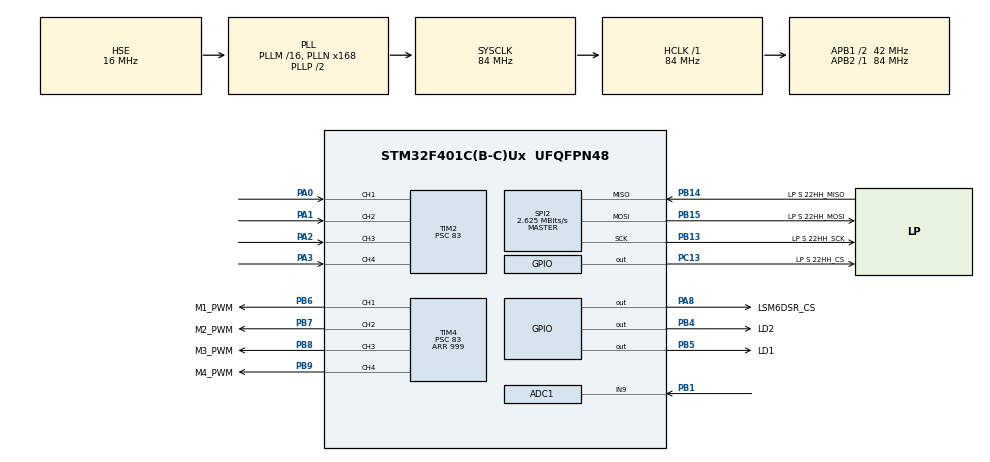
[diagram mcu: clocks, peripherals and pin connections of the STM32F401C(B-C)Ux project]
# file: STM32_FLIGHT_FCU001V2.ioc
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ADC1.Channel-0\#ChannelRegularConversion=ADC_CHANNEL_9
ADC1.ClockPrescaler=ADC_CLOCK_SYNC_PCLK_DIV8
ADC1.ContinuousConvMode=DISABLE
ADC1.EOCSelection=ADC_EOC_SEQ_CONV
ADC1.ExternalTrigConv=ADC_EXTERNALTRIGCONV_T3_TRGO
ADC1.NbrOfConversionFlag=1
ADC1.Rank-0\#ChannelRegularConversion=1
ADC1.SamplingTime-0\#ChannelRegularConversion=ADC_SAMPLETIME_3CYCLES
ADC1.master=1
Mcu.Family=STM32F4
Mcu.Name=STM32F401C(B-C)Ux
Mcu.Package=UFQFPN48
NVIC.ADC_IRQn=true\:0\:0\:false\:false\:true\:true\:true\:true
NVIC.PriorityGroup=NVIC_PRIORITYGROUP_4
NVIC.TIM2_IRQn=true\:0\:0\:false\:false\:true\:true\:true\:true
NVIC.TIM3_IRQn=true\:0\:0\:false\:false\:true\:true\:true\:true
PA0-WKUP.Signal=S_TIM2_CH1_ETR
PA1.Signal=S_TIM2_CH2
PA13.Signal=SYS_JTMS-SWDIO
PA14.Signal=SYS_JTCK-SWCLK
PA2.Signal=S_TIM2_CH3
PA3.Signal=S_TIM2_CH4
PA8.GPIO_Label=LSM6DSR_CS
PA8.GPIO_PuPd=GPIO_PULLUP
PA8.PinState=GPIO_PIN_SET
PA8.Signal=GPIO_Output
PB1.Signal=ADCx_IN9
PB13.GPIO_Label=LP S 22HH_SCK
PB13.Mode=Full_Duplex_Master
PB13.Signal=SPI2_SCK
PB14.GPIO_Label=LP S 22HH_MISO
PB14.Mode=Full_Duplex_Master
PB14.Signal=SPI2_MISO
PB15.GPIO_Label=LP S 22HH_MOSI
PB15.Mode=Full_Duplex_Master
PB15.Signal=SPI2_MOSI
PB3.Signal=SYS_JTDO-SWO
PB4.GPIO_Label=LD2
PB4.PinState=GPIO_PIN_SET
PB4.Signal=GPIO_Output
PB5.GPIO_Label=LD1
PB5.PinState=GPIO_PIN_SET
PB5.Signal=GPIO_Output
PB6.GPIO_Label=M1_PWM
PB6.Signal=S_TIM4_CH1
PB7.GPIO_Label=M2_PWM
PB7.Signal=S_TIM4_CH2
PB8.GPIO_Label=M3_PWM
PB8.Signal=S_TIM4_CH3
PB9.GPIO_Label=M4_PWM
PB9.Signal=S_TIM4_CH4
PC13-ANTI_TAMP.GPIO_Label=LP S 22HH_CS
PC13-ANTI_TAMP.GPIO_PuPd=GPIO_PULLUP
PC13-ANTI_TAMP.PinState=GPIO_PIN_SET
PC13-ANTI_TAMP.Signal=GPIO_Output
PH0\ -\ OSC_IN.Mode=HSE-External-Oscillator
PH0\ -\ OSC_IN.Signal=RCC_OSC_IN
PH1\ -\ OSC_OUT.Mode=HSE-External-Oscillator
PH1\ -\ OSC_OUT.Signal=RCC_OSC_OUT
ProjectManager.HeapSize=0x200
ProjectManager.StackSize=0x400
ProjectManager.TargetToolchain=STM32CubeIDE
RCC.48MHZClocksFreq_Value=42000000
RCC.AHBFreq_Value=84000000
RCC.APB1CLKDivider=RCC_HCLK_DIV2
RCC.APB1Freq_Value=42000000
RCC.APB1TimFreq_Value=84000000
RCC.APB2Freq_Value=84000000
RCC.APB2TimFreq_Value=84000000
RCC.CortexFreq_Value=84000000
RCC.HCLKFreq_Value=84000000
RCC.HSE_VALUE=16000000
RCC.HSI_VALUE=16000000
RCC.LSE_VALUE=32768
RCC.PLLN=168
RCC.PLLSourceVirtual=RCC_PLLSOURCE_HSE
RCC.SYSCLKFreq_VALUE=84000000
RCC.SYSCLKSource=RCC_SYSCLKSOURCE_PLLCLK
RCC.VCOOutputFreq_Value=168000000
SH.ADCx_IN9.0=ADC1_IN9,IN9
SH.S_TIM2_CH1_ETR.0=TIM2_CH1,Input_Capture1_from_TI1
SH.S_TIM2_CH2.0=TIM2_CH2,Input_Capture2_from_TI2
SH.S_TIM2_CH3.0=TIM2_CH3,Input_Capture3_from_TI3
SH.S_TIM2_CH4.0=TIM2_CH4,Input_Capture4_from_TI4
SH.S_TIM4_CH1.0=TIM4_CH1,PWM Generation1 CH1
SH.S_TIM4_CH2.0=TIM4_CH2,PWM Generation2 CH2
SH.S_TIM4_CH3.0=TIM4_CH3,PWM Generation3 CH3
SH.S_TIM4_CH4.0=TIM4_CH4,PWM Generation4 CH4
SPI2.BaudRatePrescaler=SPI_BAUDRATEPRESCALER_16
SPI2.CalculateBaudRate=2.625 MBits/s
SPI2.Direction=SPI_DIRECTION_2LINES
SPI2.Mode=SPI_MODE_MASTER
SPI2.VirtualType=VM_MASTER
STMicroelectronics.X-CUBE-ALGOBUILD.1.4.0.LibraryCcDSPOoLibraryJjDSPOoLibrary=true
TIM2.Channel-Input_Capture1_from_TI1=TIM_CHANNEL_1
TIM2.Channel-Input_Capture2_from_TI2=TIM_CHANNEL_2
TIM2.Channel-Input_Capture3_from_TI3=TIM_CHANNEL_3
TIM2.Channel-Input_Capture4_from_TI4=TIM_CHANNEL_4
TIM2.ICPolarity_CH1=TIM_INPUTCHANNELPOLARITY_BOTHEDGE
TIM2.ICPolarity_CH2=TIM_INPUTCHANNELPOLARITY_BOTHEDGE
TIM2.ICPolarity_CH3=TIM_INPUTCHANNELPOLARITY_BOTHEDGE
TIM2.ICPolarity_CH4=TIM_INPUTCHANNELPOLARITY_BOTHEDGE
TIM2.Prescaler=83
TIM3.Period=1999
TIM3.Prescaler=83
TIM3.TIM_MasterOutputTrigger=TIM_TRGO_UPDATE
TIM4.Channel-PWM\ Generation1\ CH1=TIM_CHANNEL_1
TIM4.Channel-PWM\ Generation2\ CH2=TIM_CHANNEL_2
TIM4.Channel-PWM\ Generation3\ CH3=TIM_CHANNEL_3
TIM4.Channel-PWM\ Generation4\ CH4=TIM_CHANNEL_4
TIM4.Period=999
TIM4.Prescaler=83
VP_STMicroelectronics.X-CUBE-ALGOBUILD_VS_DSPOoLibraryJjLibrary_1.4.0_1.4.0.Mode=DSPOoLibraryJjLibrary
VP_TIM2_VS_ClockSourceINT.Mode=Internal
VP_TIM3_VS_ClockSourceINT.Mode=Internal
VP_TIM4_VS_ClockSourceINT.Mode=Internal
board=custom

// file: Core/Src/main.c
/* USER CODE BEGIN Header */
/**
  ******************************************************************************
  * @file           : main.c
  * @brief          : Main program body
  ******************************************************************************
  * @attention
  *
  * Copyright (c) 2025 STMicroelectronics.
  * All rights reserved.
  *
  * This software is licensed under terms that can be found in the LICENSE file
  * in the root directory of this software component.
  * If no LICENSE file comes with this software, it is provided AS-IS.
  *
  ******************************************************************************
  */
/* USER CODE END Header */
#include "main.h"

/* USER CODE BEGIN Includes */
#include "motor_drone.h"
#include "LSM6DSR.h"
#include "imu_data.h"
#include "euler_angles.h"
#include "drone_control.h"
#include "stdio.h"
/* USER CODE END Includes */

ADC_HandleTypeDef hadc1;

SPI_HandleTypeDef hspi2;

TIM_HandleTypeDef htim2;
TIM_HandleTypeDef htim3;
TIM_HandleTypeDef htim4;

/* USER CODE BEGIN PV */
static imu_norm imu_norm_data;
static euler_angles euler_angles_robot;
static euler_angles euler_angles_reference =
{
		.pitch = 0,
		.roll = 0,
		.yaw = 0,
};
static float altitude_reference;
extern DroneTypeDef drone;
uint16_t timer_increment = 0;
uint8_t start_flight;
float roll_copy, pitch_copy;
/* USER CODE END PV */

void SystemClock_Config(void);
static void MX_GPIO_Init(void);
static void MX_TIM3_Init(void);
static void MX_TIM4_Init(void);
static void MX_SPI2_Init(void);
static void MX_ADC1_Init(void);
static void MX_TIM2_Init(void);

/* USER CODE BEGIN 0 */
MotorDroneHandler motor_drone =
{
		.arr_value = 999,
		.motor1_ch = TIM_CHANNEL_1,
		.motor2_ch = TIM_CHANNEL_2,
		.motor3_ch = TIM_CHANNEL_3,
		.motor4_ch = TIM_CHANNEL_4,
		.timer = &htim4,
		};

lsm6dsr_handler imu_sensor =
{
		.spi_imu = &hspi2,
		.gpio_cs_pin = LSM6DSR_CS_Pin ,
		.gpio_cs_port = LSM6DSR_CS_GPIO_Port,
};

void HAL_TIM_PeriodElapsedCallback(TIM_HandleTypeDef *htim)
{
	if(htim == &htim3)
	{
		lsm6dsr_read_data(&imu_sensor);
		sensor2imu_lsm6dsr(imu_sensor, &imu_norm_data);
		complementary_filter_euler(imu_norm_data,  &drone.angles_estimation);
		roll_copy = euler_angles_robot.roll;
		pitch_copy = euler_angles_robot.pitch;
		lps22hh_estimate_altitude(&pressure_sensor);
		drone.altitude = pressure_sensor.altitude;
		if(!drone.start_flight)
		{
			drone_set_zero(&drone);
			euler_angles_reference.pitch = 0;
			euler_angles_reference.roll = 0;
			euler_angles_reference.yaw = 0;
			altitude_reference = 0;
		}
		else
		{
			drone_apply_control(&drone, &euler_angles_reference, altitude_reference);
		}

	}
}

//int32_t frequency, duty_cycle;
uint32_t ch1_duty,ch2_duty,ch3_duty,ch4_duty;
void HAL_TIM_IC_CaptureCallback(TIM_HandleTypeDef *htim)
{
	static uint32_t ch1_last, ch2_last, ch3_last,ch4_last;
	static int16_t start_flight_counter = 0;
	uint32_t ch1,ch2,ch3,ch4;
    if(htim ->Channel == HAL_TIM_ACTIVE_CHANNEL_1)
    {
        ch1 = HAL_TIM_ReadCapturedValue(htim, TIM_CHANNEL_1);
        if(ch1 > ch1_last && ch1 - ch1_last < 3000)
        {
        	ch1_duty = ch1 - ch1_last;
        	euler_angles_reference.roll = ((float)ch1_duty - 1500) / 1250;
        }
        ch1_last = ch1;
    }
    if(htim ->Channel == HAL_TIM_ACTIVE_CHANNEL_2)
    {
        ch2 = HAL_TIM_ReadCapturedValue(htim, TIM_CHANNEL_2);
        if(ch2 > ch2_last && ch2 - ch2_last < 3000)
        {
        	ch2_duty = ch2 - ch2_last;
        	euler_angles_reference.pitch = ((float)ch2_duty - 1500) / 1250;
        }
        ch2_last = ch2;
    }
    if(htim ->Channel == HAL_TIM_ACTIVE_CHANNEL_3)
    {
        ch3 = HAL_TIM_ReadCapturedValue(htim, TIM_CHANNEL_3);
        if(ch3 > ch3_last && ch3 - ch3_last < 3000)
        {
        	ch3_duty = ch3 - ch3_last;

        	if(ch3_duty > 1650)
        	{
        		if(start_flight_counter >= 50)
        		{
        			start_flight_counter = 50;
        			drone.start_flight = 1;
        		}
        		else
        		{
        			start_flight_counter++;
        		}
        	}
        	else
        	{
        		if(ch3_duty < 1050)
        		{
            		if(start_flight_counter <= 0)
            		{
            			drone.start_flight = 0;
            		}
            		else
            		{
            			start_flight_counter--;
            		}
        		}

        	}
        	if(drone.start_flight)
        	{
        		drone.voltage_default = HOVERING_VOLTAGE;
        		altitude_reference += ((float)ch3_duty - 1500) / 100000;
        		altitude_reference = 1.0;
        		if(altitude_reference > 1.0)
        		{
        			altitude_reference = 1.0;
        		}
        		if(altitude_reference < 0)
        		{
        			altitude_reference = 0;
        		}
        	}
        	else
        	{
        		altitude_reference = 0;
        		drone.voltage_default = 0;
        	}
        }
        ch3_last = ch3;
    }
    if(htim ->Channel == HAL_TIM_ACTIVE_CHANNEL_4)
    {
        ch4 = HAL_TIM_ReadCapturedValue(htim, TIM_CHANNEL_4);
        if(ch4 > ch4_last && ch4 - ch4_last < 3000)
        {
        	ch4_duty = ch4 - ch4_last;
        	if(ch4_duty > 1600 || ch4_duty < 1400)
			{
				euler_angles_reference.yaw += ((float)ch4_duty - 1500) / 25000;
				if(euler_angles_reference.yaw > PI)
				{
					euler_angles_reference.yaw -= 2 *PI;
				}
				if(euler_angles_reference.yaw < -PI)
				{
					euler_angles_reference.yaw += 2 *PI;
				}
				euler_angles_reference.yaw = 0;
        				}
        }
        ch4_last = ch4;
    }
}

void HAL_ADC_ConvCpltCallback(ADC_HandleTypeDef* hadc)
{
	update_bat_voltage(&(drone.motor_drone), (float)HAL_ADC_GetValue(&hadc1));
}
/* USER CODE END 0 */

int main(void)
{

  /* MCU Configuration--------------------------------------------------------*/

  /* Reset of all peripherals, Initializes the Flash interface and the Systick. */
  HAL_Init();

  /* Configure the system clock */
  SystemClock_Config();

  /* Initialize all configured peripherals */
  MX_GPIO_Init();
  MX_TIM3_Init();
  MX_TIM4_Init();
  MX_SPI2_Init();
  MX_ADC1_Init();
  MX_TIM2_Init();
  /* USER CODE BEGIN 2 */

  HAL_Delay(1000);
  if(!lsm6dsr_init(&imu_sensor, 500))
  {
	  HAL_GPIO_WritePin(LD2_GPIO_Port, LD2_Pin, GPIO_PIN_RESET);
  }
  HAL_Delay(100);
  lsm6dsr_read_data(&imu_sensor);
  HAL_Delay(100);
  lsm6dsr_read_data(&imu_sensor);
  HAL_Delay(100);
  drone_initialization(&drone);
  HAL_ADC_Start_IT(&hadc1);
  HAL_TIM_Base_Start_IT(&htim3);
  //printf("let's start ! \n");
  /* USER CODE END 2 */

  /* Infinite loop */
  /* USER CODE BEGIN WHILE */
  while (1)
  {
	  if(drone.motor_drone.vbus_voltage < MIN_VOLTAGE + 0.2)
	  {
		  HAL_GPIO_TogglePin(LD1_GPIO_Port, LD1_Pin);
		  HAL_Delay(500);
	  }
	  else
	  {
		  HAL_GPIO_WritePin(LD1_GPIO_Port, LD1_Pin, GPIO_PIN_SET);
	  }

//	  set_motor_voltage(&(drone.motor_drone), MOTOR_1, 0.2);
//	  set_motor_voltage(&(drone.motor_drone), MOTOR_2, 0);
//	  set_motor_voltage(&(drone.motor_drone), MOTOR_3, 0);
//	  set_motor_voltage(&(drone.motor_drone), MOTOR_4, 0);
//	  HAL_Delay(2000);
//	  set_motor_voltage(&(drone.motor_drone), MOTOR_1, 0);
//	  set_motor_voltage(&(drone.motor_drone), MOTOR_2, 0.2);
//	  set_motor_voltage(&(drone.motor_drone), MOTOR_3, 0);
//	  set_motor_voltage(&(drone.motor_drone), MOTOR_4, 0);
//	  HAL_Delay(2000);
//	  set_motor_voltage(&(drone.motor_drone), MOTOR_1, 0);
//	  set_motor_voltage(&(drone.motor_drone), MOTOR_2, 0);
//	  set_motor_voltage(&(drone.motor_drone), MOTOR_3, 0.2);
//	  set_motor_voltage(&(drone.motor_drone), MOTOR_4, 0);
//	  HAL_Delay(2000);
//	  set_motor_voltage(&(drone.motor_drone), MOTOR_1, 0);
//	  set_motor_voltage(&(drone.motor_drone), MOTOR_2, 0);
//	  set_motor_voltage(&(drone.motor_drone), MOTOR_3, 0);
//	  set_motor_voltage(&(drone.motor_drone), MOTOR_4, 0.2);
//	  HAL_Delay(2000);

    /* USER CODE END WHILE */

  }
}

void SystemClock_Config(void)
{
  RCC_OscInitTypeDef RCC_OscInitStruct = {0};
  RCC_ClkInitTypeDef RCC_ClkInitStruct = {0};

  /** Configure the main internal regulator output voltage
  */
  __HAL_RCC_PWR_CLK_ENABLE();
  __HAL_PWR_VOLTAGESCALING_CONFIG(PWR_REGULATOR_VOLTAGE_SCALE2);

  /** Initializes the RCC Oscillators according to the specified parameters
  * in the RCC_OscInitTypeDef structure.
  */
  RCC_OscInitStruct.OscillatorType = RCC_OSCILLATORTYPE_HSE;
  RCC_OscInitStruct.HSEState = RCC_HSE_ON;
  RCC_OscInitStruct.PLL.PLLState = RCC_PLL_ON;
  RCC_OscInitStruct.PLL.PLLSource = RCC_PLLSOURCE_HSE;
  RCC_OscInitStruct.PLL.PLLM = 16;
  RCC_OscInitStruct.PLL.PLLN = 168;
  RCC_OscInitStruct.PLL.PLLP = RCC_PLLP_DIV2;
  RCC_OscInitStruct.PLL.PLLQ = 4;
  if (HAL_RCC_OscConfig(&RCC_OscInitStruct) != HAL_OK)
  {
    Error_Handler();
  }

  /** Initializes the CPU, AHB and APB buses clocks
  */
  RCC_ClkInitStruct.ClockType = RCC_CLOCKTYPE_HCLK|RCC_CLOCKTYPE_SYSCLK
                              |RCC_CLOCKTYPE_PCLK1|RCC_CLOCKTYPE_PCLK2;
  RCC_ClkInitStruct.SYSCLKSource = RCC_SYSCLKSOURCE_PLLCLK;
  RCC_ClkInitStruct.AHBCLKDivider = RCC_SYSCLK_DIV1;
  RCC_ClkInitStruct.APB1CLKDivider = RCC_HCLK_DIV2;
  RCC_ClkInitStruct.APB2CLKDivider = RCC_HCLK_DIV1;

  if (HAL_RCC_ClockConfig(&RCC_ClkInitStruct, FLASH_LATENCY_2) != HAL_OK)
  {
    Error_Handler();
  }
}

static void MX_ADC1_Init(void)
{

  ADC_ChannelConfTypeDef sConfig = {0};

  /** Configure the global features of the ADC (Clock, Resolution, Data Alignment and number of conversion)
  */
  hadc1.Instance = ADC1;
  hadc1.Init.ClockPrescaler = ADC_CLOCK_SYNC_PCLK_DIV8;
  hadc1.Init.Resolution = ADC_RESOLUTION_12B;
  hadc1.Init.ScanConvMode = DISABLE;
  hadc1.Init.ContinuousConvMode = DISABLE;
  hadc1.Init.DiscontinuousConvMode = DISABLE;
  hadc1.Init.ExternalTrigConvEdge = ADC_EXTERNALTRIGCONVEDGE_RISING;
  hadc1.Init.ExternalTrigConv = ADC_EXTERNALTRIGCONV_T3_TRGO;
  hadc1.Init.DataAlign = ADC_DATAALIGN_RIGHT;
  hadc1.Init.NbrOfConversion = 1;
  hadc1.Init.DMAContinuousRequests = DISABLE;
  hadc1.Init.EOCSelection = ADC_EOC_SEQ_CONV;
  if (HAL_ADC_Init(&hadc1) != HAL_OK)
  {
    Error_Handler();
  }

  /** Configure for the selected ADC regular channel its corresponding rank in the sequencer and its sample time.
  */
  sConfig.Channel = ADC_CHANNEL_9;
  sConfig.Rank = 1;
  sConfig.SamplingTime = ADC_SAMPLETIME_3CYCLES;
  if (HAL_ADC_ConfigChannel(&hadc1, &sConfig) != HAL_OK)
  {
    Error_Handler();
  }

}

static void MX_SPI2_Init(void)
{

  /* SPI2 parameter configuration*/
  hspi2.Instance = SPI2;
  hspi2.Init.Mode = SPI_MODE_MASTER;
  hspi2.Init.Direction = SPI_DIRECTION_2LINES;
  hspi2.Init.DataSize = SPI_DATASIZE_8BIT;
  hspi2.Init.CLKPolarity = SPI_POLARITY_LOW;
  hspi2.Init.CLKPhase = SPI_PHASE_1EDGE;
  hspi2.Init.NSS = SPI_NSS_SOFT;
  hspi2.Init.BaudRatePrescaler = SPI_BAUDRATEPRESCALER_16;
  hspi2.Init.FirstBit = SPI_FIRSTBIT_MSB;
  hspi2.Init.TIMode = SPI_TIMODE_DISABLE;
  hspi2.Init.CRCCalculation = SPI_CRCCALCULATION_DISABLE;
  hspi2.Init.CRCPolynomial = 10;
  if (HAL_SPI_Init(&hspi2) != HAL_OK)
  {
    Error_Handler();
  }

}

static void MX_TIM2_Init(void)
{

  TIM_ClockConfigTypeDef sClockSourceConfig = {0};
  TIM_MasterConfigTypeDef sMasterConfig = {0};
  TIM_IC_InitTypeDef sConfigIC = {0};

  htim2.Instance = TIM2;
  htim2.Init.Prescaler = 83;
  htim2.Init.CounterMode = TIM_COUNTERMODE_UP;
  htim2.Init.Period = 4294967295;
  htim2.Init.ClockDivision = TIM_CLOCKDIVISION_DIV1;
  htim2.Init.AutoReloadPreload = TIM_AUTORELOAD_PRELOAD_DISABLE;
  if (HAL_TIM_Base_Init(&htim2) != HAL_OK)
  {
    Error_Handler();
  }
  sClockSourceConfig.ClockSource = TIM_CLOCKSOURCE_INTERNAL;
  if (HAL_TIM_ConfigClockSource(&htim2, &sClockSourceConfig) != HAL_OK)
  {
    Error_Handler();
  }
  if (HAL_TIM_IC_Init(&htim2) != HAL_OK)
  {
    Error_Handler();
  }
  sMasterConfig.MasterOutputTrigger = TIM_TRGO_RESET;
  sMasterConfig.MasterSlaveMode = TIM_MASTERSLAVEMODE_DISABLE;
  if (HAL_TIMEx_MasterConfigSynchronization(&htim2, &sMasterConfig) != HAL_OK)
  {
    Error_Handler();
  }
  sConfigIC.ICPolarity = TIM_INPUTCHANNELPOLARITY_BOTHEDGE;
  sConfigIC.ICSelection = TIM_ICSELECTION_DIRECTTI;
  sConfigIC.ICPrescaler = TIM_ICPSC_DIV1;
  sConfigIC.ICFilter = 0;
  if (HAL_TIM_IC_ConfigChannel(&htim2, &sConfigIC, TIM_CHANNEL_1) != HAL_OK)
  {
    Error_Handler();
  }
  if (HAL_TIM_IC_ConfigChannel(&htim2, &sConfigIC, TIM_CHANNEL_2) != HAL_OK)
  {
    Error_Handler();
  }
  if (HAL_TIM_IC_ConfigChannel(&htim2, &sConfigIC, TIM_CHANNEL_3) != HAL_OK)
  {
    Error_Handler();
  }
  if (HAL_TIM_IC_ConfigChannel(&htim2, &sConfigIC, TIM_CHANNEL_4) != HAL_OK)
  {
    Error_Handler();
  }
  /* USER CODE BEGIN TIM2_Init 2 */
  HAL_TIM_IC_Start_IT(&htim2, TIM_CHANNEL_1);
  HAL_TIM_IC_Start_IT(&htim2, TIM_CHANNEL_2);
  HAL_TIM_IC_Start_IT(&htim2, TIM_CHANNEL_3);
  HAL_TIM_IC_Start_IT(&htim2, TIM_CHANNEL_4);

  /* USER CODE END TIM2_Init 2 */

}

static void MX_TIM3_Init(void)
{

  TIM_ClockConfigTypeDef sClockSourceConfig = {0};
  TIM_MasterConfigTypeDef sMasterConfig = {0};

  htim3.Instance = TIM3;
  htim3.Init.Prescaler = 83;
  htim3.Init.CounterMode = TIM_COUNTERMODE_UP;
  htim3.Init.Period = 1999;
  htim3.Init.ClockDivision = TIM_CLOCKDIVISION_DIV1;
  htim3.Init.AutoReloadPreload = TIM_AUTORELOAD_PRELOAD_DISABLE;
  if (HAL_TIM_Base_Init(&htim3) != HAL_OK)
  {
    Error_Handler();
  }
  sClockSourceConfig.ClockSource = TIM_CLOCKSOURCE_INTERNAL;
  if (HAL_TIM_ConfigClockSource(&htim3, &sClockSourceConfig) != HAL_OK)
  {
    Error_Handler();
  }
  sMasterConfig.MasterOutputTrigger = TIM_TRGO_UPDATE;
  sMasterConfig.MasterSlaveMode = TIM_MASTERSLAVEMODE_DISABLE;
  if (HAL_TIMEx_MasterConfigSynchronization(&htim3, &sMasterConfig) != HAL_OK)
  {
    Error_Handler();
  }

}

static void MX_TIM4_Init(void)
{

  TIM_ClockConfigTypeDef sClockSourceConfig = {0};
  TIM_MasterConfigTypeDef sMasterConfig = {0};
  TIM_OC_InitTypeDef sConfigOC = {0};

  htim4.Instance = TIM4;
  htim4.Init.Prescaler = 83;
  htim4.Init.CounterMode = TIM_COUNTERMODE_UP;
  htim4.Init.Period = 999;
  htim4.Init.ClockDivision = TIM_CLOCKDIVISION_DIV1;
  htim4.Init.AutoReloadPreload = TIM_AUTORELOAD_PRELOAD_DISABLE;
  if (HAL_TIM_Base_Init(&htim4) != HAL_OK)
  {
    Error_Handler();
  }
  sClockSourceConfig.ClockSource = TIM_CLOCKSOURCE_INTERNAL;
  if (HAL_TIM_ConfigClockSource(&htim4, &sClockSourceConfig) != HAL_OK)
  {
    Error_Handler();
  }
  if (HAL_TIM_PWM_Init(&htim4) != HAL_OK)
  {
    Error_Handler();
  }
  sMasterConfig.MasterOutputTrigger = TIM_TRGO_RESET;
  sMasterConfig.MasterSlaveMode = TIM_MASTERSLAVEMODE_DISABLE;
  if (HAL_TIMEx_MasterConfigSynchronization(&htim4, &sMasterConfig) != HAL_OK)
  {
    Error_Handler();
  }
  sConfigOC.OCMode = TIM_OCMODE_PWM1;
  sConfigOC.Pulse = 0;
  sConfigOC.OCPolarity = TIM_OCPOLARITY_HIGH;
  sConfigOC.OCFastMode = TIM_OCFAST_DISABLE;
  if (HAL_TIM_PWM_ConfigChannel(&htim4, &sConfigOC, TIM_CHANNEL_1) != HAL_OK)
  {
    Error_Handler();
  }
  if (HAL_TIM_PWM_ConfigChannel(&htim4, &sConfigOC, TIM_CHANNEL_2) != HAL_OK)
  {
    Error_Handler();
  }
  if (HAL_TIM_PWM_ConfigChannel(&htim4, &sConfigOC, TIM_CHANNEL_3) != HAL_OK)
  {
    Error_Handler();
  }
  if (HAL_TIM_PWM_ConfigChannel(&htim4, &sConfigOC, TIM_CHANNEL_4) != HAL_OK)
  {
    Error_Handler();
  }
  /* USER CODE BEGIN TIM4_Init 2 */
  HAL_TIM_Base_Start(&htim4);
  HAL_TIM_PWM_Start(&htim4, TIM_CHANNEL_1);
  HAL_TIM_PWM_Start(&htim4, TIM_CHANNEL_2);
  HAL_TIM_PWM_Start(&htim4, TIM_CHANNEL_3);
  HAL_TIM_PWM_Start(&htim4, TIM_CHANNEL_4);
  /* USER CODE END TIM4_Init 2 */
  HAL_TIM_MspPostInit(&htim4);

}

static void MX_GPIO_Init(void)
{
  GPIO_InitTypeDef GPIO_InitStruct = {0};

  /* GPIO Ports Clock Enable */
  __HAL_RCC_GPIOC_CLK_ENABLE();
  __HAL_RCC_GPIOH_CLK_ENABLE();
  __HAL_RCC_GPIOA_CLK_ENABLE();
  __HAL_RCC_GPIOB_CLK_ENABLE();

  /*Configure GPIO pin Output Level */
  HAL_GPIO_WritePin(LSM6DSR_CS_GPIO_Port, LSM6DSR_CS_Pin, GPIO_PIN_SET);

  /*Configure GPIO pin Output Level */
  HAL_GPIO_WritePin(GPIOB, LD2_Pin|LD1_Pin, GPIO_PIN_SET);

  /*Configure GPIO pin : LSM6DSR_CS_Pin */
  GPIO_InitStruct.Pin = LSM6DSR_CS_Pin;
  GPIO_InitStruct.Mode = GPIO_MODE_OUTPUT_PP;
  GPIO_InitStruct.Pull = GPIO_PULLUP;
  GPIO_InitStruct.Speed = GPIO_SPEED_FREQ_LOW;
  HAL_GPIO_Init(LSM6DSR_CS_GPIO_Port, &GPIO_InitStruct);

  /*Configure GPIO pins : LD2_Pin LD1_Pin */
  GPIO_InitStruct.Pin = LD2_Pin|LD1_Pin;
  GPIO_InitStruct.Mode = GPIO_MODE_OUTPUT_PP;
  GPIO_InitStruct.Pull = GPIO_NOPULL;
  GPIO_InitStruct.Speed = GPIO_SPEED_FREQ_LOW;
  HAL_GPIO_Init(GPIOB, &GPIO_InitStruct);

}

/* USER CODE BEGIN 4 */
int _write(int le, char *ptr, int len)
{
	int DataIdx;
	for(DataIdx = 0; DataIdx < len; DataIdx++)
	{
		ITM_SendChar(*ptr++);
	}
return len;
}
/* USER CODE END 4 */

void Error_Handler(void)
{
  __disable_irq();
  while (1)
  {
  }
}
